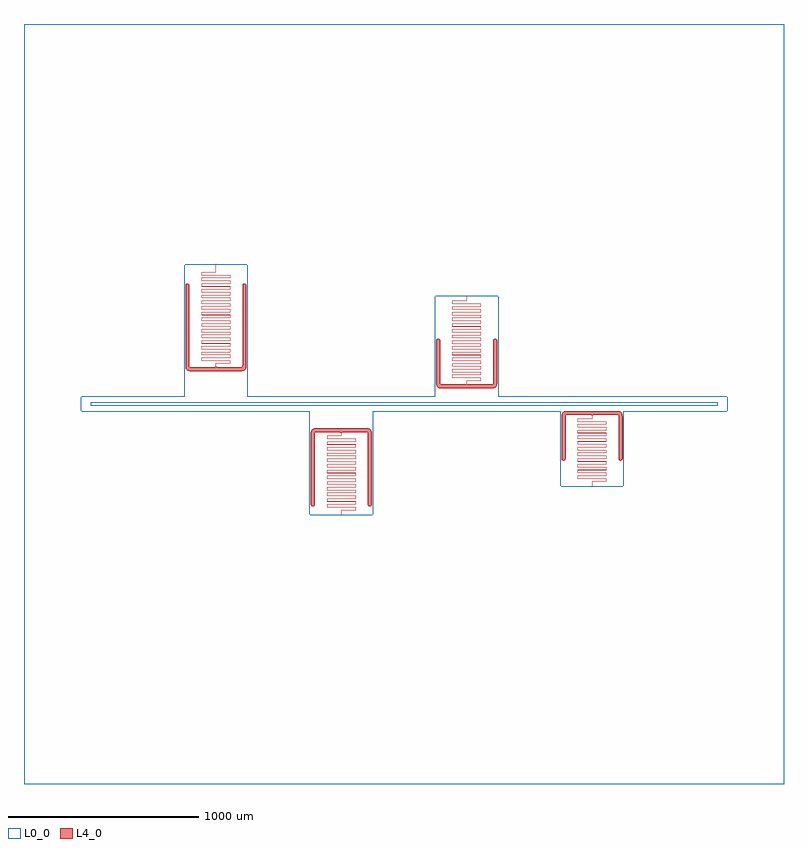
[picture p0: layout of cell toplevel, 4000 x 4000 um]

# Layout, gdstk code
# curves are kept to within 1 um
import gdstk
lib = gdstk.Library(unit=1e-6, precision=1e-09)
def R(c, l, rs):  # rectangles x0, y0, x1, y1
    for r in rs: c.add(gdstk.rectangle(r[:2], r[2:], *l))
def P(c, l, *ps):  # polygons
    for p in ps: c.add(gdstk.Polygon(p, *l))
L0_0 = (0, 0)
L4_0 = (4, 0)

toplevel = lib.new_cell('toplevel')
R(toplevel, L0_0, [(-1650,-10,1650,10)])
P(toplevel, L0_0, [(2000,-2000),(2000,2000),(-2000,2000),(-2000,-37.5),(-1700,-37.5),(-1700,37.5),(-1155,37.5),(-1155,733.5),(-825,733.5),(-825,37.5),(165,37.5),(165,567.833),(495,567.833),(495,37.5),(1700,37.5),(1700,-37.5),(1155,-37.5),(1155,-432.5),(825,-432.5),(825,-37.5),(-165,-37.5),(-165,-583.167),(-495,-583.167),(-495,-37.5),(-1700,-37.5),(-2000,-37.5),(-2000,-2000)])
P(toplevel, L4_0, [(-858.256,173.5),(-847.418,174.546),(-839.466,178.163),(-833.684,184.468),(-830.573,193.131),(-830,333.364),(-850,333.364),(-850.063,198.555),(-851.128,194.413),(-857.931,193.5),(-980,193.5),(-989.85,198.5),(-989.645,213.337),(-915.181,213.402),(-915.295,228.631),(-1064.818,228.79),(-1064.605,243.344),(-915.558,243.35),(-914.851,243.976),(-915.368,258.643),(-1064.737,258.695),(-1064.579,273.346),(-915.558,273.35),(-914.851,273.967),(-915.343,288.639),(-1064.657,288.665),(-1064.721,303.313),(-915.378,303.356),(-914.85,317.979),(-915.537,318.65),(-1064.59,318.655),(-1064.766,333.285),(-915.318,333.364),(-1065.077,333.364),(-1064.622,318.356),(-915.15,317.967),(-915.41,303.655),(-1064.826,303.595),(-1064.682,288.364),(-915.416,288.346),(-915.15,274),(-1064.647,273.641),(-1064.894,258.439),(-915.427,258.347),(-915.15,244.002),(-1064.616,243.644),(-1065.149,228.979),(-1064.442,228.35),(-915.445,228.348),(-915.238,213.711),(-989.74,213.623),(-990.15,198.5),(-1000,193.5),(-1122.398,193.501),(-1128.572,194.248),(-1129.622,196.059),(-1129.995,200.544),(-1130,333.364),(-1150,333.364),(-1149.862,196.75),(-1148.774,190.25),(-1146.477,184.744),(-1143.012,180.24),(-1138.342,176.789),(-1131.658,174.327),(-1123.348,173.508)],
  [(-915.26,333.377),(-915.109,333.437),(-914.96,333.574),(-914.851,333.961),(-914.85,347.974),(-914.884,348.267),(-914.978,348.45),(-915.141,348.58),(-915.359,348.641),(-1064.442,348.65),(-1064.738,348.696),(-1064.841,348.874),(-1064.85,362.965),(-1064.798,363.248),(-1064.603,363.344),(-915.558,363.35),(-915.318,363.364),(-915.109,363.437),(-914.96,363.574),(-914.873,363.773),(-914.853,378.077),(-914.9,378.313),(-914.991,378.465),(-915.167,378.592),(-915.356,378.641),(-1064.442,378.65),(-1064.714,378.683),(-1064.834,378.841),(-1064.85,393.012),(-1064.78,393.272),(-1064.581,393.346),(-915.521,393.35),(-915.273,393.373),(-915.084,393.453),(-914.949,393.59),(-914.871,393.782),(-914.851,408.041),(-914.889,408.283),(-914.991,408.465),(-915.154,408.586),(-915.378,408.644),(-1064.457,408.65),(-1064.73,408.691),(-1064.836,408.847),(-1064.85,423.005),(-1064.79,423.259),(-1064.592,423.345),(-915.532,423.35),(-915.279,423.372),(-915.09,423.449),(-914.953,423.584),(-914.873,423.776),(-914.851,438.041),(-914.889,438.283),(-914.991,438.465),(-915.154,438.586),(-915.378,438.644),(-1064.457,438.65),(-1064.727,438.69),(-1064.834,438.839),(-1064.85,453.005),(-1064.79,453.259),(-1064.592,453.345),(-915.532,453.35),(-915.282,453.371),(-915.096,453.445),(-914.96,453.574),(-914.877,453.76),(-914.851,468.041),(-914.889,468.283),(-914.991,468.465),(-915.154,468.586),(-915.378,468.644),(-1064.457,468.65),(-1064.722,468.687),(-1064.832,468.83),(-1064.85,483.005),(-1064.79,483.259),(-1064.592,483.345),(-915.534,483.35),(-915.289,483.37),(-915.103,483.441),(-914.966,483.565),(-914.881,483.743),(-914.85,484.037),(-914.851,498.041),(-914.889,498.283),(-914.991,498.465),(-915.154,498.586),(-915.378,498.644),(-1064.457,498.65),(-1064.718,498.685),(-1064.829,498.82),(-1064.85,513.005),(-1064.79,513.259),(-1064.592,513.345),(-915.534,513.35),(-915.112,513.436),(-914.976,513.553),(-914.887,513.724),(-914.85,514.034),(-914.851,528.041),(-914.889,528.283),(-914.991,528.465),(-915.154,528.586),(-915.378,528.644),(-1064.457,528.65),(-1064.714,528.683),(-1064.825,528.808),(-1064.85,543.005),(-1064.79,543.259),(-1064.592,543.345),(-915.534,543.35),(-915.122,543.43),(-914.985,543.541),(-914.896,543.697),(-914.85,544.032),(-914.851,558.038),(-914.889,558.283),(-914.991,558.465),(-915.154,558.586),(-915.378,558.644),(-1064.455,558.65),(-1064.706,558.68),(-1064.82,558.794),(-1064.85,573.002),(-1064.791,573.258),(-1064.592,573.345),(-915.537,573.35),(-915.138,573.422),(-915.001,573.523),(-914.908,573.668),(-914.85,574.026),(-914.851,588.038),(-914.889,588.283),(-914.991,588.465),(-915.154,588.586),(-915.378,588.644),(-1064.455,588.65),(-1064.697,588.677),(-1064.813,588.779),(-1064.85,589.035),(-1064.85,603.002),(-1064.79,603.259),(-1064.59,603.345),(-915.537,603.35),(-915.154,603.414),(-914.925,603.632),(-914.85,604.024),(-914.851,618.036),(-914.888,618.28),(-914.991,618.465),(-915.154,618.586),(-915.378,618.644),(-1064.455,618.65),(-1064.686,618.673),(-1064.804,618.762),(-1064.85,619.032),(-1064.85,633),(-1064.791,633.258),(-1064.59,633.345),(-915.54,633.35),(-915.181,633.402),(-914.951,633.587),(-914.873,633.773),(-914.85,634.015),(-914.851,648.033),(-914.887,648.276),(-914.988,648.462),(-915.154,648.586),(-915.378,648.644),(-1064.452,648.65),(-1064.671,648.669),(-1064.791,648.742),(-1064.85,649.027),(-1064.85,663),(-1064.791,663.258),(-1064.59,663.345),(-915.542,663.35),(-915.217,663.389),(-914.993,663.532),(-914.884,663.733),(-914.85,664.007),(-914.851,678.027),(-914.887,678.276),(-914.988,678.462),(-915.154,678.586),(-915.378,678.644),(-1064.452,678.65),(-1064.772,678.72),(-1064.833,678.834),(-1064.85,679.022),(-1064.85,692.988),(-1064.804,693.24),(-1064.643,693.338),(-990.54,693.35),(-990.269,693.374),(-990.068,693.464),(-989.9,693.687),(-989.85,694.021),(-989.85,733.5),(-990.15,733.5),(-990.15,694.035),(-990.17,693.825),(-990.243,693.708),(-990.545,693.65),(-1064.705,693.631),(-1064.897,693.559),(-1065.038,693.429),(-1065.122,693.247),(-1065.15,693.013),(-1065.15,679.001),(-1065.108,678.707),(-1064.977,678.501),(-1064.76,678.382),(-1064.458,678.35),(-915.41,678.345),(-915.209,678.258),(-915.15,677.998),(-915.15,664.025),(-915.218,663.731),(-915.338,663.666),(-915.548,663.65),(-1064.622,663.644),(-1064.846,663.586),(-1065.012,663.462),(-1065.113,663.276),(-1065.149,663.03),(-1065.15,649.012),(-1065.122,648.756),(-1065.031,648.562),(-1064.803,648.396),(-1064.46,648.35),(-915.41,648.345),(-915.209,648.258),(-915.15,648),(-915.15,634.03),(-915.202,633.751),(-915.321,633.671),(-915.548,633.65),(-1064.622,633.644),(-1064.846,633.586),(-1065.009,633.465),(-1065.112,633.28),(-1065.149,633.036),(-1065.15,619.021),(-1065.064,618.612),(-1064.836,618.409),(-1064.463,618.35),(-915.41,618.345),(-915.21,618.259),(-915.15,618.002),(-915.15,604.032),(-915.191,603.77),(-915.307,603.675),(-915.545,603.65),(-1064.622,603.644),(-1064.846,603.586),(-1065.009,603.465),(-1065.112,603.28),(-1065.149,603.036),(-1065.15,589.024),(-1065.085,588.651),(-1064.855,588.418),(-1064.463,588.35),(-915.41,588.345),(-915.21,588.259),(-915.15,588.002),(-915.15,574.035),(-915.183,573.786),(-915.299,573.678),(-915.545,573.65),(-1064.622,573.644),(-1064.846,573.586),(-1065.009,573.465),(-1065.111,573.283),(-1065.149,573.038),(-1065.15,559.029),(-1065.099,558.684),(-1065.007,558.532),(-1064.872,558.427),(-1064.466,558.35),(-915.408,558.345),(-915.209,558.258),(-915.15,558.002),(-915.178,543.801),(-915.291,543.681),(-915.543,543.65),(-1064.622,543.644),(-1064.846,543.586),(-1065.009,543.465),(-1065.111,543.283),(-1065.149,543.038),(-1065.15,529.032),(-1065.109,528.71),(-1065.019,528.547),(-1064.881,528.432),(-1064.466,528.35),(-915.408,528.345),(-915.21,528.259),(-915.15,528.005),(-915.173,513.814),(-915.283,513.685),(-915.543,513.65),(-1064.622,513.644),(-1064.846,513.586),(-1065.009,513.465),(-1065.111,513.283),(-1065.149,513.041),(-1065.15,499.034),(-1065.116,498.733),(-1065.029,498.559),(-1064.891,498.437),(-1064.466,498.35),(-915.408,498.345),(-915.21,498.259),(-915.15,498.005),(-915.17,483.825),(-915.279,483.687),(-915.543,483.65),(-1064.622,483.644),(-1064.846,483.586),(-1065.009,483.465),(-1065.111,483.283),(-1065.149,483.041),(-1065.122,468.753),(-1065.038,468.571),(-1064.901,468.443),(-1064.714,468.371),(-1064.468,468.35),(-915.408,468.345),(-915.21,468.259),(-915.15,468.005),(-915.167,453.834),(-915.276,453.688),(-915.543,453.65),(-1064.622,453.644),(-1064.846,453.586),(-1065.009,453.465),(-1065.111,453.283),(-1065.149,453.041),(-1065.126,438.769),(-1065.044,438.58),(-1064.907,438.447),(-1064.717,438.371),(-1064.468,438.35),(-915.408,438.345),(-915.21,438.259),(-915.15,438.005),(-915.165,423.843),(-915.272,423.69),(-915.543,423.65),(-1064.622,423.644),(-1064.846,423.586),(-1065.009,423.465),(-1065.111,423.283),(-1065.149,423.041),(-1065.129,408.782),(-1065.051,408.59),(-1064.913,408.451),(-1064.724,408.373),(-1064.468,408.35),(-915.408,408.345),(-915.21,408.259),(-915.15,408.005),(-915.164,393.847),(-915.27,393.691),(-915.543,393.65),(-1064.65,393.64),(-1064.849,393.585),(-1065.019,393.453),(-1065.119,393.257),(-1065.149,393.041),(-1065.137,378.824),(-1065.066,378.615),(-1064.932,378.464),(-1064.737,378.376),(-1064.442,378.35),(-915.395,378.344),(-915.2,378.245),(-915.15,377.962),(-915.165,363.843),(-915.285,363.684),(-915.558,363.65),(-1064.644,363.641),(-1064.865,363.577),(-1065.002,363.474),(-1065.109,363.29),(-1065.147,363.08),(-1065.138,348.831),(-1065.068,348.619),(-1064.935,348.466),(-1064.74,348.377),(-1064.442,348.35),(-915.399,348.344),(-915.205,348.253),(-915.15,347.965),(-915.159,333.874),(-915.263,333.695),(-915.558,333.65),(-1064.463,333.65),(-1064.849,333.585),(-1065.077,333.364)],
  [(-1130,623.5),(-1132.627,630.256),(-1139.564,633.49),(-1146.756,630.873),(-1149.962,624.372),(-1150,333.364),(-1130,333.364)],
  [(-830,623.5),(-832.627,630.256),(-839.564,633.49),(-846.756,630.873),(-849.962,624.372),(-850,333.364),(-830,333.364)],
  [(-330.152,-167.73),(-404.701,-168.035),(-405.149,-168.631),(-404.849,-183.251),(-255.445,-183.319),(-255.263,-197.972),(-404.613,-198.022),(-405.149,-198.634),(-404.935,-213.2),(-255.445,-213.319),(-255.224,-227.943),(-404.61,-228.022),(-405.149,-228.634),(-405.009,-243.132),(-255.376,-243.325),(-255.21,-257.926),(-404.61,-258.022),(-405.149,-258.625),(-405.068,-273.048),(-255.378,-273.325),(-255.196,-287.905),(-404.607,-288.022),(-405.149,-288.622),(-405.068,-303.048),(-255.45,-303.318),(-255.184,-317.882),(-404.604,-318.021),(-405.148,-318.616),(-405.092,-332.999),(-255.385,-333.324),(-255.174,-347.856),(-404.601,-348.021),(-405.148,-348.608),(-405.111,-362.95),(-255.387,-363.324),(-255.174,-377.856),(-404.65,-378.026),(-405.148,-378.599),(-405.111,-392.95),(-255.393,-393.323),(-255.173,-407.854),(-404.592,-408.02),(-405.147,-408.59),(-405.111,-422.95),(-255.399,-423.322),(-255.165,-437.824),(-404.638,-438.025),(-405.15,-438.69),(-405.127,-452.891),(-255.403,-453.322),(-255.165,-467.824),(-404.628,-468.024),(-405.148,-468.616),(-405.127,-482.891),(-255.414,-483.321),(-255.165,-497.822),(-404.653,-498.027),(-405.148,-498.602),(-405.128,-512.887),(-404.442,-513.317),(-255.425,-513.32),(-255.158,-527.788),(-404.628,-528.024),(-405.147,-528.581),(-405.149,-542.691),(-404.442,-543.317),(-255.267,-543.359),(-255.357,-558.004),(-329.872,-558.093),(-329.85,-583.167),(-329.733,-558.359),(-255.292,-558.297),(-254.85,-557.674),(-255.068,-543.131),(-404.59,-543.012),(-404.772,-528.387),(-255.378,-528.31),(-254.851,-527.694),(-254.993,-513.199),(-404.59,-513.012),(-404.791,-498.408),(-255.378,-498.31),(-254.851,-497.699),(-254.951,-483.253),(-404.59,-483.012),(-404.804,-468.429),(-255.378,-468.31),(-254.851,-467.702),(-254.925,-453.298),(-404.59,-453.012),(-404.813,-438.446),(-255.378,-438.31),(-254.851,-437.705),(-254.908,-423.334),(-404.592,-423.012),(-404.82,-408.461),(-255.378,-408.31),(-254.851,-407.705),(-254.896,-393.364),(-404.592,-393.012),(-404.825,-378.474),(-255.378,-378.31),(-254.851,-377.708),(-254.887,-363.39),(-404.592,-363.012),(-404.829,-348.486),(-255.378,-348.31),(-254.851,-347.708),(-254.881,-333.41),(-404.592,-333.012),(-404.832,-318.497),(-255.378,-318.31),(-254.851,-317.708),(-254.877,-303.426),(-404.592,-303.012),(-404.834,-288.506),(-255.378,-288.31),(-254.851,-287.708),(-254.873,-273.443),(-404.592,-273.012),(-404.836,-258.514),(-255.378,-258.31),(-254.851,-257.708),(-254.87,-243.456),(-255.532,-243.017),(-404.592,-243.012),(-404.837,-228.521),(-255.378,-228.31),(-254.851,-227.708),(-254.868,-213.465),(-255.532,-213.017),(-404.592,-213.012),(-404.838,-198.527),(-255.378,-198.31),(-254.851,-197.708),(-254.867,-183.472),(-255.521,-183.017),(-404.581,-183.013),(-404.822,-168.467),(-330.26,-168.29),(-329.85,-153.167),(-320,-148.167),(-197.122,-148.171),(-192.893,-148.474),(-190.892,-149.327),(-190,-156.098),(-189.99,-528.603),(-189.063,-532.393),(-186.756,-535.539),(-183.42,-537.564),(-179.564,-538.157),(-175.774,-537.23),(-172.929,-535.238),(-170.761,-531.994),(-170.009,-528.603),(-170,-156.058),(-170.289,-149.777),(-171.304,-144.647),(-173.14,-140.102),(-175.804,-136.175),(-179.197,-133.025),(-183.323,-130.63),(-188.211,-129.023),(-193.814,-128.268),(-464.776,-128.205),(-471.138,-128.884),(-476.399,-130.508),(-480.936,-133.125),(-484.63,-136.698),(-488.656,-144.512),(-489.988,-154.521),(-490,-528.167),(-489.239,-531.994),(-486.756,-535.539),(-483.42,-537.564),(-479.128,-538.129),(-475.382,-537.037),(-472.627,-534.923),(-470.761,-531.994),(-470.009,-528.603),(-470,-156.181),(-469.339,-149.795),(-467.557,-148.572),(-462.878,-148.171),(-340,-148.167),(-330.15,-153.167)],
  [(330.15,122.323),(330.548,122.683),(404.701,122.701),(405.149,123.298),(404.849,137.918),(255.443,137.986),(255.263,152.638),(404.613,152.689),(405.149,153.306),(404.935,167.867),(255.443,167.985),(255.224,182.609),(404.613,182.689),(405.149,183.301),(405.009,197.798),(255.374,197.992),(255.21,212.593),(404.61,212.689),(405.149,213.301),(405.068,227.715),(255.445,227.985),(255.196,242.571),(404.61,242.689),(405.149,243.292),(405.068,257.715),(255.448,257.985),(255.184,272.548),(404.607,272.688),(405.149,273.289),(405.092,287.666),(404.442,287.983),(255.382,287.991),(255.174,302.522),(404.604,302.688),(405.148,303.283),(405.111,317.616),(404.442,317.983),(255.385,317.991),(255.174,332.522),(404.601,332.688),(405.148,333.274),(405.111,347.616),(404.442,347.983),(255.387,347.991),(255.174,362.522),(404.65,362.693),(405.148,363.265),(405.111,377.616),(404.442,377.983),(255.393,377.99),(255.173,392.521),(404.644,392.692),(405.147,393.257),(405.126,407.561),(404.442,407.983),(255.399,407.989),(255.165,422.49),(404.638,422.691),(405.15,423.357),(405.127,437.557),(404.442,437.983),(255.403,437.989),(255.165,452.49),(404.628,452.69),(405.148,453.283),(405.127,467.557),(404.442,467.983),(255.414,467.988),(255.165,482.488),(404.653,482.693),(405.148,483.268),(405.128,497.554),(404.442,497.983),(255.425,497.987),(255.158,512.455),(404.628,512.69),(405.147,513.248),(405.149,527.357),(404.442,527.983),(255.267,528.026),(255.357,542.671),(329.872,542.76),(329.85,567.833),(329.733,543.026),(255.292,542.964),(254.85,542.34),(255.068,527.798),(404.59,527.679),(404.772,513.054),(255.378,512.977),(254.851,512.36),(254.993,497.865),(404.59,497.679),(404.791,483.075),(255.378,482.977),(254.851,482.366),(254.951,467.92),(404.59,467.679),(404.804,453.095),(255.378,452.977),(254.851,452.369),(254.925,437.965),(404.59,437.679),(404.813,423.112),(255.378,422.977),(254.851,422.372),(254.908,408.001),(255.537,407.683),(404.592,407.678),(404.82,393.128),(255.378,392.977),(254.851,392.372),(254.896,378.03),(255.534,377.683),(404.592,377.678),(404.825,363.141),(255.378,362.977),(254.851,362.375),(254.887,348.057),(255.534,347.683),(404.592,347.678),(404.829,333.153),(255.378,332.977),(254.851,332.375),(254.881,318.077),(255.534,317.683),(404.592,317.678),(404.832,303.164),(255.378,302.977),(254.851,302.375),(254.877,288.093),(255.532,287.683),(404.592,287.678),(404.834,273.173),(255.378,272.977),(254.851,272.375),(254.873,258.109),(255.532,257.683),(404.592,257.678),(404.836,243.18),(255.378,242.977),(254.851,242.375),(254.87,228.122),(255.532,227.683),(404.592,227.678),(404.837,213.188),(255.378,212.977),(254.851,212.375),(254.868,198.132),(255.532,197.683),(404.592,197.678),(404.838,183.194),(255.378,182.977),(254.851,182.378),(254.865,168.145),(255.532,167.683),(404.592,167.678),(404.839,153.2),(255.378,152.977),(254.851,152.378),(254.865,138.148),(255.521,137.683),(404.581,137.679),(404.822,123.134),(330.26,122.957),(329.851,122.355),(329.85,107.833),(320,102.833),(197.201,102.837),(193.308,103.069),(191.017,103.828),(190.236,106.142),(190.001,110.435),(189.99,333.269),(189.063,337.06),(186.756,340.206),(183.42,342.23),(179.564,342.824),(176.173,342.072),(172.929,339.904),(170.937,337.06),(170.009,333.269),(170,110.724),(170.289,104.443),(171.226,99.583),(173.067,94.907),(175.694,90.971),(179.063,87.792),(183.184,85.359),(187.816,83.781),(193.136,82.98),(463.746,82.847),(469.119,83.213),(473.52,84.137),(477.51,85.689),(481.07,87.892),(484.735,91.497),(487.537,96.157),(489.256,101.565),(489.958,107.952),(490,332.833),(489.239,336.66),(486.756,340.206),(483.42,342.23),(479.128,342.795),(475.382,341.703),(472.627,339.589),(470.761,336.66),(470.009,333.269),(469.999,110.517),(469.786,106.289),(469.08,103.951),(467.018,103.124),(463.034,102.839),(340,102.833),(330.15,107.833)],
  [(989.846,-77.079),(915.299,-77.368),(914.85,-78.023),(915.194,-92.603),(1064.59,-92.655),(1064.738,-107.304),(915.378,-107.356),(914.851,-107.979),(915.05,-122.522),(1064.584,-122.654),(1064.776,-137.276),(915.393,-137.355),(914.851,-137.956),(914.991,-152.465),(1064.618,-152.658),(1064.79,-167.259),(915.396,-167.355),(914.851,-167.95),(914.96,-182.426),(1064.615,-182.658),(1064.804,-197.238),(915.399,-197.354),(914.852,-197.941),(914.932,-212.381),(1064.613,-212.657),(1064.816,-227.215),(915.402,-227.354),(914.852,-227.932),(914.908,-242.332),(1064.607,-242.656),(1064.817,-257.213),(915.356,-257.359),(914.853,-257.923),(914.889,-272.283),(1064.601,-272.656),(1064.826,-287.187),(915.362,-287.358),(914.85,-288.024),(914.888,-302.28),(1064.596,-302.655),(1064.835,-317.157),(915.371,-317.357),(914.851,-317.95),(914.888,-332.28),(1064.586,-332.654),(1064.827,-347.186),(915.346,-347.36),(914.852,-347.935),(914.872,-362.221),(915.558,-362.65),(1064.575,-362.653),(1064.835,-377.155),(915.371,-377.357),(914.853,-377.914),(914.851,-392.024),(915.558,-392.65),(1064.733,-392.693),(1064.643,-407.338),(990.128,-407.427),(990.15,-432.5),(990.267,-407.693),(1064.708,-407.631),(1065.15,-407.007),(1064.932,-392.464),(915.41,-392.345),(915.228,-377.72),(1064.622,-377.644),(1065.149,-377.027),(1065.007,-362.532),(915.41,-362.345),(915.209,-347.742),(1064.622,-347.644),(1065.149,-347.033),(1065.049,-332.587),(915.41,-332.345),(915.196,-317.762),(1064.622,-317.644),(1065.149,-317.036),(1065.075,-302.632),(915.41,-302.345),(915.187,-287.779),(1064.622,-287.644),(1065.149,-287.038),(1065.092,-272.668),(915.408,-272.345),(915.18,-257.794),(1064.622,-257.644),(1065.149,-257.038),(1065.104,-242.697),(915.408,-242.345),(915.175,-227.807),(1064.622,-227.644),(1065.149,-227.041),(1065.113,-212.724),(915.408,-212.345),(915.171,-197.82),(1064.622,-197.644),(1065.149,-197.041),(1065.119,-182.743),(1064.466,-182.35),(915.408,-182.345),(915.168,-167.83),(1064.622,-167.644),(1065.149,-167.041),(1065.123,-152.76),(1064.468,-152.35),(915.408,-152.345),(915.166,-137.839),(1064.619,-137.644),(1065.149,-137.047),(1065.119,-122.743),(1064.479,-122.35),(915.395,-122.344),(915.164,-107.847),(1064.616,-107.644),(1065.15,-107.004),(1065.129,-92.786),(1064.442,-92.35),(915.445,-92.348),(915.185,-77.784),(989.74,-77.623),(990.149,-77.021),(990.15,-62.5),(1000,-57.5),(1122.878,-57.504),(1126.787,-57.751),(1128.99,-58.501),(1129.764,-60.808),(1129.998,-64.94),(1130.009,-287.936),(1130.937,-291.726),(1133.244,-294.873),(1136.58,-296.897),(1140.436,-297.49),(1143.827,-296.739),(1147.071,-294.571),(1149.239,-291.327),(1149.99,-287.936),(1150,-65.483),(1149.711,-59.11),(1148.774,-54.25),(1146.933,-49.574),(1144.306,-45.638),(1140.803,-42.359),(1136.677,-39.963),(1131.92,-38.386),(1126.75,-37.638),(856.354,-37.512),(846.75,-38.726),(842.768,-40.22),(839.063,-42.458),(835.265,-46.164),(832.463,-50.823),(830.771,-56.102),(830.049,-62.406),(830,-287.5),(830.761,-291.327),(833.244,-294.873),(836.58,-296.897),(840.872,-297.462),(844.226,-296.563),(847.373,-294.256),(849.239,-291.327),(849.99,-287.936),(850.001,-65.102),(850.913,-58.628),(852.937,-57.799),(857.122,-57.504),(980,-57.5),(989.85,-62.5)])

lib.write_gds('toplevel.gds')
